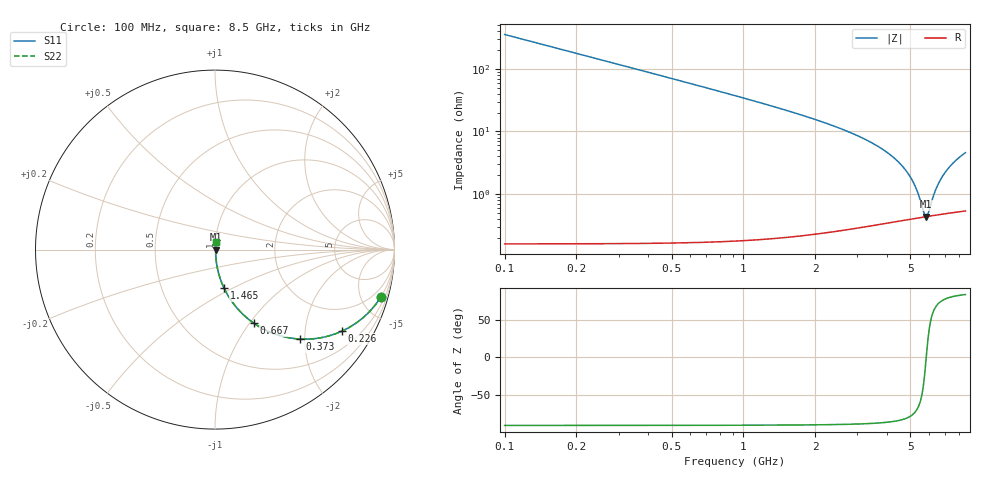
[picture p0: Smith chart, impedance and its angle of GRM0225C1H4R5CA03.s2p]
!Murata Part Number: GRM0225C1H4R5CA03
!These Parameters are Measured in Series Mode Connection
!Data Generated on Mar 30, 2021
!  o--ll--o
!Port1  Port2
!  o------o
!Operation Temp=25[degC], DC Bias Voltage=0[V]
!Freq. Start=100[MHz] Stop=9[GHz] 401[Steps]
# Hz S RI R 50
!Freq.(Hz) S11(Real) S11(Imag) S21(Real) S21(Imag) S12(Real) S12(Imag) S22(Real) S22(Imag)
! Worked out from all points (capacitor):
!   401 points, 100 MHz to 8.5 GHz, reference 50 ohm
!   read as one part in series: C = 4.5 pF near 142 MHz
!   lowest |Z| = 438 mohm at 5.833 GHz (marker M1)
!   series resonance near 5.827 GHz, so ESL is about 170 pH
!   S11 on the Smith chart (normalised r, x): 100 MHz: 1.00, -7.07; 226 MHz: 1.00, -3.12; 373 MHz: 1.00, -1.89; 667 MHz: 1.00, -1.05; 1.465 GHz: 1.00, -0.45; 8.5 GHz: 1.01, +0.09
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1e8  0.9258 -0.2618  0.0742 0.2618  0.0742 0.2618  0.9258 -0.2618
2.26e8  0.7092 -0.4536  0.2908 0.4536  0.2908 0.4536  0.7092 -0.4536
3.73e8  0.4713 -0.4983  0.5287 0.4983  0.5287 0.4983  0.4713 -0.4983
4.99e8  0.3313 -0.4695  0.6687 0.4695  0.6687 0.4695  0.3313 -0.4695
6.67e8  0.2155 -0.4096  0.7845 0.4096  0.7845 0.4096  0.2155 -0.4096
9.82e8  0.1101 -0.3104  0.8899 0.3104  0.8899 0.3104  0.1101 -0.3104
1.465e9  0.0501 -0.2138  0.9499 0.2138  0.9499 0.2138  0.0501 -0.2138
1.507e9  0.0473 -0.2076  0.9527 0.2076  0.9527 0.2076  0.0473 -0.2076
2.914e9  0.0108 -0.089  0.9892 0.089  0.9892 0.089  0.0108 -0.089
4.3e9  0.00494 -0.0366  0.9951 0.0366  0.9951 0.0366  0.00494 -0.0366
4.762e9  0.00442 -0.0241  0.9956 0.0241  0.9956 0.0241  0.00442 -0.0241
5.119e9  0.00425 -0.0154  0.9957 0.0154  0.9957 0.0154  0.00425 -0.0154
5.392e9  0.00423 -0.00917  0.9958 0.00917  0.9958 0.00917  0.00423 -0.00917
5.707e9  0.0043 -0.00246  0.9957 0.00246  0.9957 0.00246  0.0043 -0.00246
5.833e9  0.00436 0.000114  0.9956 -0.000114  0.9956 -0.000114  0.00436 0.000114
5.917e9  0.0044 0.0018  0.9956 -0.0018  0.9956 -0.0018  0.0044 0.0018
6.232e9  0.00459 0.0079  0.9954 -0.0079  0.9954 -0.0079  0.00459 0.0079
6.463e9  0.00478 0.0122  0.9952 -0.0122  0.9952 -0.0122  0.00478 0.0122
6.757e9  0.00505 0.0174  0.9949 -0.0174  0.9949 -0.0174  0.00505 0.0174
7.114e9  0.00544 0.0235  0.9946 -0.0235  0.9946 -0.0235  0.00544 0.0235
7.744e9  0.00625 0.0337  0.9937 -0.0337  0.9937 -0.0337  0.00625 0.0337
8.5e9  0.00739 0.045  0.9926 -0.045  0.9926 -0.045  0.00739 0.045
